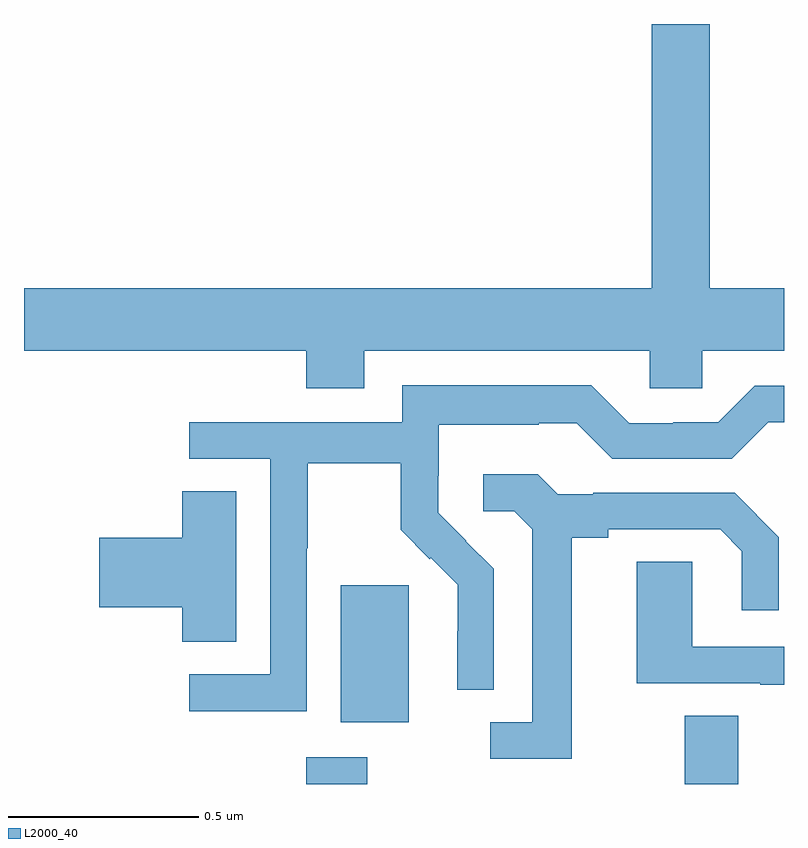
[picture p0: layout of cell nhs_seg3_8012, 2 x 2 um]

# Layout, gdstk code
import gdstk
lib = gdstk.Library(unit=1e-6, precision=1e-09)
def R(c, l, rs):  # rectangles x0, y0, x1, y1
    for r in rs: c.add(gdstk.rectangle(r[:2], r[2:], *l))
def P(c, l, *ps):  # polygons
    for p in ps: c.add(gdstk.Polygon(p, *l))
L2000_40 = (2000, 40)

nhs_seg3_8012 = lib.new_cell('nhs_seg3_8012')
R(nhs_seg3_8012, L2000_40, [(210.743,742.4,210.903,742.471), (211.739,742.4,211.879,742.58), (210.833,742.562,211.012,742.923)])
P(nhs_seg3_8012, L2000_40, [(210.895,743.54),(211.647,743.54),(211.647,743.442),(211.785,743.442),(211.785,743.54),(212,743.54),(212,743.704),(211.804,743.704),(211.804,744.4),(211.652,744.4),(211.652,743.704),(210,743.704),(210,743.54),(210.743,743.54),(210.743,743.441),(210.895,743.441)],
  [(210.744,743.02),(210.747,743.02),(210.747,743.244),(210.991,743.244),(210.991,743.069),(211.068,742.992),(211.071,742.995),(211.142,742.925),(211.142,742.802),(211.14,742.802),(211.14,742.648),(211.236,742.648),(211.236,742.966),(211.163,743.039),(211.164,743.04),(211.09,743.114),(211.09,743.211),(211.092,743.211),(211.092,743.345),(211.355,743.345),(211.355,743.349),(211.455,743.349),(211.548,743.256),(211.863,743.256),(211.959,743.352),(212,743.352),(212,743.448),(211.923,743.448),(211.827,743.352),(211.709,743.352),(211.709,743.349),(211.593,743.349),(211.493,743.449),(210.996,743.449),(210.996,743.352),(210.435,743.352),(210.435,743.256),(210.648,743.256),(210.648,742.689),(210.435,742.689),(210.435,742.591),(210.744,742.591)],
  [(211.441,743.048),(211.537,743.048),(211.537,743.07),(211.832,743.07),(211.889,743.013),(211.889,742.857),(211.986,742.857),(211.986,743.05),(211.87,743.166),(211.498,743.166),(211.498,743.163),(211.404,743.163),(211.352,743.215),(211.209,743.215),(211.209,743.118),(211.29,743.118),(211.337,743.071),(211.337,742.563),(211.227,742.563),(211.227,742.467),(211.441,742.467)],
  [(210.559,743.171),(210.416,743.171),(210.416,743.048),(210.198,743.048),(210.198,742.865),(210.416,742.865),(210.416,742.774),(210.559,742.774)],
  [(212,742.761),(211.758,742.761),(211.758,742.985),(211.613,742.985),(211.613,742.665),(211.937,742.665),(211.937,742.661),(212,742.661)])

lib.write_gds('nhs_seg3_8012.gds')
